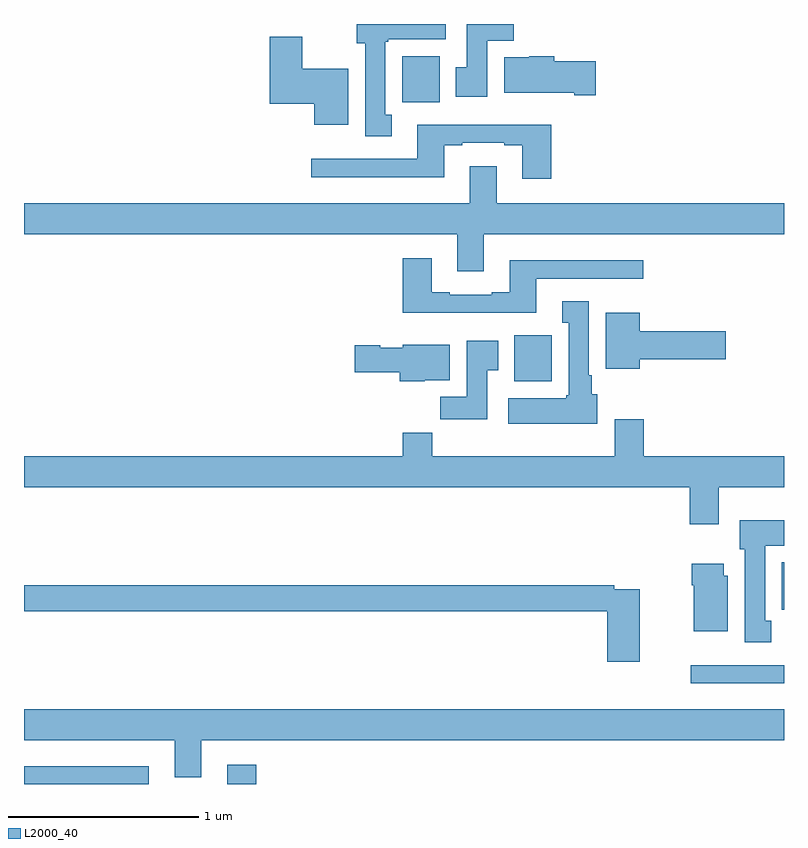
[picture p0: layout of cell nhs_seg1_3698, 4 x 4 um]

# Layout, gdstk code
import gdstk
lib = gdstk.Library(unit=1e-6, precision=1e-09)
def R(c, l, rs):  # rectangles x0, y0, x1, y1
    for r in rs: c.add(gdstk.rectangle(r[:2], r[2:], *l))
def P(c, l, *ps):  # polygons
    for p in ps: c.add(gdstk.Polygon(p, *l))
L2000_40 = (2000, 40)

nhs_seg1_3698 = lib.new_cell('nhs_seg1_3698')
R(nhs_seg1_3698, L2000_40, [(313,522.199,313.657,522.292), (314.069,522.199,314.222,522.301), (316.509,522.728,317,522.825), (316.989,523.116,317,523.366), (315.581,524.318,315.778,524.56), (314.99,525.788,315.187,526.03)])
P(nhs_seg1_3698, L2000_40, [(314.935,525.722),(314.902,525.722),(314.902,526.105),(314.916,526.105),(314.916,526.118),(315.22,526.118),(315.22,526.199),(314.75,526.199),(314.75,526.098),(314.795,526.098),(314.795,525.609),(314.935,525.609)],
  [(315.439,526.112),(315.578,526.112),(315.578,526.199),(315.329,526.199),(315.329,525.972),(315.272,525.972),(315.272,525.816),(315.439,525.816)],
  [(314.707,525.964),(314.464,525.964),(314.464,526.132),(314.294,526.132),(314.294,525.779),(314.528,525.779),(314.528,525.668),(314.707,525.668)],
  [(316.009,526.002),(315.791,526.002),(315.791,526.03),(315.66,526.03),(315.66,526.024),(315.527,526.024),(315.527,525.836),(315.896,525.836),(315.896,525.824),(316.009,525.824)],
  [(315.776,525.67),(315.071,525.67),(315.071,525.489),(314.511,525.489),(314.511,525.392),(315.211,525.392),(315.211,525.561),(315.307,525.561),(315.307,525.573),(315.527,525.573),(315.527,525.561),(315.623,525.561),(315.623,525.384),(315.776,525.384)],
  [(315.421,525.092),(317,525.092),(317,525.256),(315.487,525.256),(315.487,525.451),(315.347,525.451),(315.347,525.256),(313,525.256),(313,525.092),(315.281,525.092),(315.281,524.898),(315.421,524.898)],
  [(315.697,524.859),(316.258,524.859),(316.258,524.956),(315.557,524.956),(315.557,524.788),(315.461,524.788),(315.461,524.775),(315.241,524.775),(315.241,524.788),(315.145,524.788),(315.145,524.965),(314.993,524.965),(314.993,524.678),(315.697,524.678)],
  [(316.018,524.25),(315.988,524.25),(315.988,524.35),(315.973,524.35),(315.973,524.74),(315.833,524.74),(315.833,524.627),(315.866,524.627),(315.866,524.244),(315.853,524.244),(315.853,524.23),(315.549,524.23),(315.549,524.096),(316.018,524.096)],
  [(316.24,524.435),(316.693,524.435),(316.693,524.582),(316.24,524.582),(316.24,524.68),(316.061,524.68),(316.061,524.384),(316.24,524.384)],
  [(315.439,524.377),(315.496,524.377),(315.496,524.533),(315.329,524.533),(315.329,524.236),(315.19,524.236),(315.19,524.118),(315.439,524.118)],
  [(315.108,524.324),(315.241,524.324),(315.241,524.512),(314.994,524.512),(314.994,524.494),(314.874,524.494),(314.874,524.507),(314.742,524.507),(314.742,524.365),(314.978,524.365),(314.978,524.318),(315.108,524.318)],
  [(316.505,523.566),(316.657,523.566),(316.657,523.76),(317,523.76),(317,523.924),(316.262,523.924),(316.262,524.119),(316.109,524.119),(316.109,523.924),(315.149,523.924),(315.149,524.048),(314.993,524.048),(314.993,523.924),(313,523.924),(313,523.76),(316.505,523.76)],
  [(316.933,523.057),(316.9,523.057),(316.9,523.454),(317,523.454),(317,523.588),(316.766,523.588),(316.766,523.434),(316.793,523.434),(316.793,522.945),(316.933,522.945)],
  [(316.705,523.296),(316.684,523.296),(316.684,523.357),(316.514,523.357),(316.514,523.244),(316.526,523.244),(316.526,523.004),(316.705,523.004)],
  [(316.24,523.224),(316.106,523.224),(316.106,523.244),(313,523.244),(313,523.108),(316.07,523.108),(316.07,522.843),(316.24,522.843)],
  [(313.933,522.428),(317,522.428),(317,522.592),(313,522.592),(313,522.428),(313.793,522.428),(313.793,522.234),(313.933,522.234)])

lib.write_gds('nhs_seg1_3698.gds')
